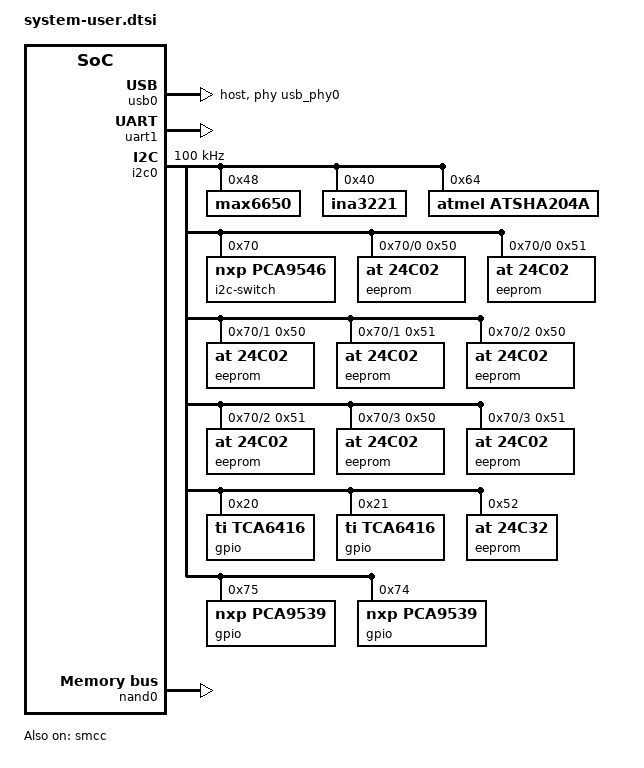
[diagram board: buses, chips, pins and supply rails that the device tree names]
/include/ "system-conf.dtsi"
/ {
        aliases {
                ethernet0 = &gem0;
                i2c0 = &i2c0;
                serial0 = &uart1;
                spi0 = &qspi;
        };
	reserved-memory {
		#address-cells = <1>;
		#size-cells = <1>;
		ranges;
		rproc_0_reserved: rproc@0 {
			no-map;
          		reg =  <0x0 0x20000000>;
        	};
	};
        amba {
		elf_ddr_0: ddr@0 {
			compatible = "mmio-sram";
          		reg = <0x0 0x1c000000>;
        	};
        };
	rtbox: remoteproc-rtbox@0 {
		compatible = "xlnx,zynq_remoteproc";
		firmware = "firmware";
		vring0 = <8>;
		vring1 = <9>;
		srams = <&elf_ddr_0>;
		interrupt-parent = <&intc>;
		interrupts = <0 29 1>; // irq_f2p interrupt routing!
	};
	usb_phy0: phy0 {
		compatible = "ulpi-phy";
		#phy-cells = <0>;
		reg = <0xe0002000 0x1000>;
		view-port = <0x0170>;
		drv-vbus;
	};
};

&usb0 {
	status = "okay";
	dr_mode = "host";
	usb-phy = <&usb_phy0>;
};


&sdhci0 {
        clock-frequency = <50000000>;
	xlnx,has-cd = <0x1>;
	xlnx,has-power = <0x0>;
	xlnx,has-wp = <0x1>;
};

&uart1 {
        u-boot,dm-pre-reloc;
        status = "okay";
};

&i2c0 {
	compatible = "xlnx,ps7-i2c-1.00.a", "cdns,i2c-r1p10";
	status = "okay";
	clock-frequency = <100000>;
        max6650@48 {
        	compatible = "max6650";
		reg = <0x48>;
        };
	ina3221@40 {
		compatible = "ina3221";
		reg = <0x40>;
	};
        atsha204a@64 {
                compatible = "atmel,atsha204a";
                reg = <0x64>;
        };
	i2c-switch@70 {
		compatible = "nxp,pca9546";
		reg = <0x70>;
		i2c@0 {
			#address-cells = <1>;
			#size-cells = <0>;
			reg = <0>;

			eeprom@50 {
				compatible = "at,24c02";
				reg = <0x50>;
			};
			eeprom@51 {
				compatible = "at,24c02";
				reg = <0x51>;
			};
		};
		i2c@1 {
			#address-cells = <1>;
			#size-cells = <0>;
			reg = <1>;

			eeprom@50 {
				compatible = "at,24c02";
				reg = <0x50>;
			};
			eeprom@51 {
				compatible = "at,24c02";
				reg = <0x51>;
			};
		};
		i2c@2 {
			#address-cells = <1>;
			#size-cells = <0>;
			reg = <2>;

			eeprom@50 {
				compatible = "at,24c02";
				reg = <0x50>;
			};
			eeprom@51 {
				compatible = "at,24c02";
				reg = <0x51>;
			};
		};
		i2c@3 {
			#address-cells = <1>;
			#size-cells = <0>;
			reg = <3>;

			eeprom@50 {
				compatible = "at,24c02";
				reg = <0x50>;
			};
			eeprom@51 {
				compatible = "at,24c02";
				reg = <0x51>;
			};
		};
        };
	gpio@20 {
		compatible = "ti,tca6416";
 		pinctrl-names = "default";
		reg = <0x20>;
	};
	gpio@21 {
		compatible = "ti,tca6416";
 		pinctrl-names = "default";
		reg = <0x21>;
	};
	eeprom@52 {
		compatible = "at,24c32";
		reg = <0x52>;
	};
        gpio@75 {
		compatible = "nxp,pca9539";
		reg = <0x75>;
        };
        gpio@74 {
		compatible = "nxp,pca9539";
		reg = <0x74>;
        };

};

&Version_axi_gpio_1  {
	compatible = "invalid";
};

&DataMover_axi_gpio_0 {
	compatible = "invalid";
};

&Aurora_axi_gpio_1 {
	compatible = "invalid";
};

&Aurora_axi_gpio_2 {
	compatible = "invalid";
};

&smcc {
	status = "okay";
	arm,addr25 = <0x0>;
	arm,nor-chip-sel0 = <0x0>;
	arm,nor-chip-sel1 = <0x0>;
	arm,sram-chip-sel0 = <0x0>;
	arm,sram-chip-sel1 = <0x0>;
};

&nand0 {
	status = "okay";
	arm,nand-cycle-t0 = <0x4>;
	arm,nand-cycle-t1 = <0x4>;
	arm,nand-cycle-t2 = <0x1>;
	arm,nand-cycle-t3 = <0x2>;
	arm,nand-cycle-t4 = <0x2>;
	arm,nand-cycle-t5 = <0x2>;
	arm,nand-cycle-t6 = <0x4>;

	nand-ecc-mode = "on-die";
	nand-bus-width = <0x8>;

	partition@nand-linux {
		label = "nand-linux";
		reg = <0x0 0x20000000>;
	};
};

&qspi {
	status = "disabled";
};


